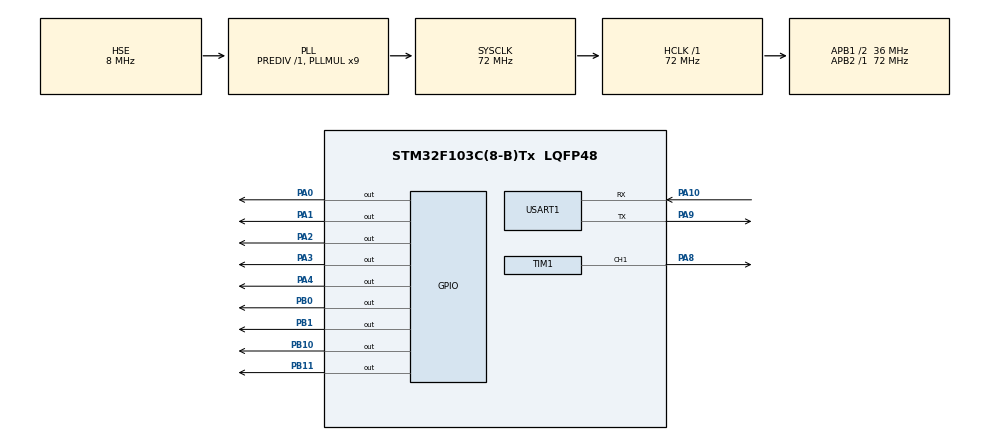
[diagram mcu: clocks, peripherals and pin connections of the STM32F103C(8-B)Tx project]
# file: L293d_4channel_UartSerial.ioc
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Mcu.Family=STM32F1
Mcu.Name=STM32F103C(8-B)Tx
Mcu.Package=LQFP48
NVIC.PriorityGroup=NVIC_PRIORITYGROUP_4
NVIC.USART1_IRQn=true\:0\:0\:false\:false\:true\:true\:true\:true
PA0-WKUP.Signal=GPIO_Output
PA1.Signal=GPIO_Output
PA10.Mode=Asynchronous
PA10.Signal=USART1_RX
PA13.Mode=Serial_Wire
PA13.Signal=SYS_JTMS-SWDIO
PA14.Mode=Serial_Wire
PA14.Signal=SYS_JTCK-SWCLK
PA2.Signal=GPIO_Output
PA3.Signal=GPIO_Output
PA4.Signal=GPIO_Output
PA8.Signal=S_TIM1_CH1
PA9.Mode=Asynchronous
PA9.Signal=USART1_TX
PB0.Signal=GPIO_Output
PB1.Signal=GPIO_Output
PB10.Signal=GPIO_Output
PB11.Signal=GPIO_Output
PD0-OSC_IN.Mode=HSE-External-Oscillator
PD0-OSC_IN.Signal=RCC_OSC_IN
PD1-OSC_OUT.Mode=HSE-External-Oscillator
PD1-OSC_OUT.Signal=RCC_OSC_OUT
ProjectManager.HeapSize=0x200
ProjectManager.StackSize=0x400
ProjectManager.TargetToolchain=STM32CubeIDE
RCC.AHBFreq_Value=72000000
RCC.APB1CLKDivider=RCC_HCLK_DIV2
RCC.APB1Freq_Value=36000000
RCC.APB1TimFreq_Value=72000000
RCC.APB2Freq_Value=72000000
RCC.APB2TimFreq_Value=72000000
RCC.HCLKFreq_Value=72000000
RCC.PLLMUL=RCC_PLL_MUL9
RCC.PLLSourceVirtual=RCC_PLLSOURCE_HSE
RCC.SYSCLKFreq_VALUE=72000000
RCC.SYSCLKSource=RCC_SYSCLKSOURCE_PLLCLK
RCC.USBFreq_Value=72000000
SH.S_TIM1_CH1.0=TIM1_CH1,PWM Generation1 CH1
TIM1.Channel-PWM\ Generation1\ CH1=TIM_CHANNEL_1
TIM1.Period=1000
TIM1.Prescaler=71
USART1.VirtualMode=VM_ASYNC
VP_TIM1_VS_ClockSourceINT.Mode=Internal
board=custom

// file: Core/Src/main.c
/* USER CODE BEGIN Header */
/**
  ******************************************************************************
  * @file           : main.c
  * @brief          : Main program body
  ******************************************************************************
  * @attention
  *
  * Copyright (c) 2026 STMicroelectronics.
  * All rights reserved.
  *
  * This software is licensed under terms that can be found in the LICENSE file
  * in the root directory of this software component.
  * If no LICENSE file comes with this software, it is provided AS-IS.
  *
  ******************************************************************************
  */
/* USER CODE END Header */
#include "main.h"

TIM_HandleTypeDef htim1;

UART_HandleTypeDef huart1;

void SystemClock_Config(void);
static void MX_GPIO_Init(void);
static void MX_TIM1_Init(void);
static void MX_USART1_UART_Init(void);

/* USER CODE BEGIN 0 */
#include <string.h>
#include <stdio.h>

uint8_t rx_data;
uint16_t speed = 500;
char selected_motor = 'A';

/* -------- UART DEBUG -------- */
void debug_print(char *msg)
{
    HAL_UART_Transmit(&huart1, (uint8_t*)msg, strlen(msg), 100);
}

/* -------- STOP ALL -------- */
void all_motors_stop(void)
{
    HAL_GPIO_WritePin(GPIOA, GPIO_PIN_0|GPIO_PIN_1|GPIO_PIN_2|GPIO_PIN_3, GPIO_PIN_RESET);
    HAL_GPIO_WritePin(GPIOB, GPIO_PIN_0|GPIO_PIN_1|GPIO_PIN_10|GPIO_PIN_11, GPIO_PIN_RESET);
}

/* -------- MOTOR CONTROL -------- */
void motorA_forward(void)
{
    all_motors_stop();
    HAL_GPIO_WritePin(GPIOA, GPIO_PIN_0, GPIO_PIN_SET);
    HAL_GPIO_WritePin(GPIOA, GPIO_PIN_1, GPIO_PIN_RESET);
}

void motorB_forward(void)
{
    all_motors_stop();
    HAL_GPIO_WritePin(GPIOA, GPIO_PIN_2, GPIO_PIN_SET);
    HAL_GPIO_WritePin(GPIOA, GPIO_PIN_3, GPIO_PIN_RESET);
}

void motorC_forward(void)
{
    all_motors_stop();
    HAL_GPIO_WritePin(GPIOB, GPIO_PIN_0, GPIO_PIN_SET);
    HAL_GPIO_WritePin(GPIOB, GPIO_PIN_1, GPIO_PIN_RESET);
}

void motorD_forward(void)
{
    all_motors_stop();
    HAL_GPIO_WritePin(GPIOB, GPIO_PIN_10, GPIO_PIN_SET);
    HAL_GPIO_WritePin(GPIOB, GPIO_PIN_11, GPIO_PIN_RESET);
}

/* -------- APPLY SPEED -------- */
void apply_speed(void)
{
    __HAL_TIM_SET_COMPARE(&htim1, TIM_CHANNEL_1, speed);
}
/* USER CODE END 0 */
void HAL_UART_RxCpltCallback(UART_HandleTypeDef *huart)
{
    if (huart->Instance == USART1)
    {
        char msg[50];

        /* ---- SELECT MOTOR ---- */
        if (rx_data=='A'||rx_data=='B'||rx_data=='C'||rx_data=='D')
        {
            selected_motor = rx_data;
            sprintf(msg, "Selected: %c\r\n", selected_motor);
            debug_print(msg);
        }

        /* ---- RUN MOTOR ---- */
        if (rx_data == 'F')
        {
            if (selected_motor=='A') motorA_forward();
            if (selected_motor=='B') motorB_forward();
            if (selected_motor=='C') motorC_forward();
            if (selected_motor=='D') motorD_forward();

            sprintf(msg, "Motor %c RUN\r\n", selected_motor);
            debug_print(msg);
        }

        /* ---- STOP ---- */
        if (rx_data == 'S')
        {
            all_motors_stop();
            debug_print("ALL STOP\r\n");
        }

        /* ---- SPEED ---- */
        if (rx_data >= '0' && rx_data <= '9')
        {
            speed = (rx_data - '0') * 100;
            apply_speed();

            sprintf(msg, "Speed: %d\r\n", speed);
            debug_print(msg);
        }

        HAL_UART_Receive_IT(&huart1, &rx_data, 1);
    }
}
int main(void)
{

  /* MCU Configuration--------------------------------------------------------*/

  /* Reset of all peripherals, Initializes the Flash interface and the Systick. */
  HAL_Init();

  /* Configure the system clock */
  SystemClock_Config();

  /* Initialize all configured peripherals */
  MX_GPIO_Init();
  MX_TIM1_Init();
  MX_USART1_UART_Init();
  /* USER CODE BEGIN 2 */
  HAL_TIM_PWM_Start(&htim1, TIM_CHANNEL_1);

  all_motors_stop();
  apply_speed();

  HAL_UART_Receive_IT(&huart1, &rx_data, 1);
  /* USER CODE END 2 */

  /* Infinite loop */
  while (1)
  {

  }
}

void SystemClock_Config(void)
{
  RCC_OscInitTypeDef RCC_OscInitStruct = {0};
  RCC_ClkInitTypeDef RCC_ClkInitStruct = {0};

  /** Initializes the RCC Oscillators according to the specified parameters
  * in the RCC_OscInitTypeDef structure.
  */
  RCC_OscInitStruct.OscillatorType = RCC_OSCILLATORTYPE_HSE;
  RCC_OscInitStruct.HSEState = RCC_HSE_ON;
  RCC_OscInitStruct.HSEPredivValue = RCC_HSE_PREDIV_DIV1;
  RCC_OscInitStruct.HSIState = RCC_HSI_ON;
  RCC_OscInitStruct.PLL.PLLState = RCC_PLL_ON;
  RCC_OscInitStruct.PLL.PLLSource = RCC_PLLSOURCE_HSE;
  RCC_OscInitStruct.PLL.PLLMUL = RCC_PLL_MUL9;
  if (HAL_RCC_OscConfig(&RCC_OscInitStruct) != HAL_OK)
  {
    Error_Handler();
  }

  /** Initializes the CPU, AHB and APB buses clocks
  */
  RCC_ClkInitStruct.ClockType = RCC_CLOCKTYPE_HCLK|RCC_CLOCKTYPE_SYSCLK
                              |RCC_CLOCKTYPE_PCLK1|RCC_CLOCKTYPE_PCLK2;
  RCC_ClkInitStruct.SYSCLKSource = RCC_SYSCLKSOURCE_PLLCLK;
  RCC_ClkInitStruct.AHBCLKDivider = RCC_SYSCLK_DIV1;
  RCC_ClkInitStruct.APB1CLKDivider = RCC_HCLK_DIV2;
  RCC_ClkInitStruct.APB2CLKDivider = RCC_HCLK_DIV1;

  if (HAL_RCC_ClockConfig(&RCC_ClkInitStruct, FLASH_LATENCY_2) != HAL_OK)
  {
    Error_Handler();
  }
}

static void MX_TIM1_Init(void)
{

  TIM_ClockConfigTypeDef sClockSourceConfig = {0};
  TIM_MasterConfigTypeDef sMasterConfig = {0};
  TIM_OC_InitTypeDef sConfigOC = {0};
  TIM_BreakDeadTimeConfigTypeDef sBreakDeadTimeConfig = {0};

  htim1.Instance = TIM1;
  htim1.Init.Prescaler = 71;
  htim1.Init.CounterMode = TIM_COUNTERMODE_UP;
  htim1.Init.Period = 1000;
  htim1.Init.ClockDivision = TIM_CLOCKDIVISION_DIV1;
  htim1.Init.RepetitionCounter = 0;
  htim1.Init.AutoReloadPreload = TIM_AUTORELOAD_PRELOAD_DISABLE;
  if (HAL_TIM_Base_Init(&htim1) != HAL_OK)
  {
    Error_Handler();
  }
  sClockSourceConfig.ClockSource = TIM_CLOCKSOURCE_INTERNAL;
  if (HAL_TIM_ConfigClockSource(&htim1, &sClockSourceConfig) != HAL_OK)
  {
    Error_Handler();
  }
  if (HAL_TIM_PWM_Init(&htim1) != HAL_OK)
  {
    Error_Handler();
  }
  sMasterConfig.MasterOutputTrigger = TIM_TRGO_RESET;
  sMasterConfig.MasterSlaveMode = TIM_MASTERSLAVEMODE_DISABLE;
  if (HAL_TIMEx_MasterConfigSynchronization(&htim1, &sMasterConfig) != HAL_OK)
  {
    Error_Handler();
  }
  sConfigOC.OCMode = TIM_OCMODE_PWM1;
  sConfigOC.Pulse = 0;
  sConfigOC.OCPolarity = TIM_OCPOLARITY_HIGH;
  sConfigOC.OCNPolarity = TIM_OCNPOLARITY_HIGH;
  sConfigOC.OCFastMode = TIM_OCFAST_DISABLE;
  sConfigOC.OCIdleState = TIM_OCIDLESTATE_RESET;
  sConfigOC.OCNIdleState = TIM_OCNIDLESTATE_RESET;
  if (HAL_TIM_PWM_ConfigChannel(&htim1, &sConfigOC, TIM_CHANNEL_1) != HAL_OK)
  {
    Error_Handler();
  }
  sBreakDeadTimeConfig.OffStateRunMode = TIM_OSSR_DISABLE;
  sBreakDeadTimeConfig.OffStateIDLEMode = TIM_OSSI_DISABLE;
  sBreakDeadTimeConfig.LockLevel = TIM_LOCKLEVEL_OFF;
  sBreakDeadTimeConfig.DeadTime = 0;
  sBreakDeadTimeConfig.BreakState = TIM_BREAK_DISABLE;
  sBreakDeadTimeConfig.BreakPolarity = TIM_BREAKPOLARITY_HIGH;
  sBreakDeadTimeConfig.AutomaticOutput = TIM_AUTOMATICOUTPUT_DISABLE;
  if (HAL_TIMEx_ConfigBreakDeadTime(&htim1, &sBreakDeadTimeConfig) != HAL_OK)
  {
    Error_Handler();
  }
  HAL_TIM_MspPostInit(&htim1);

}

static void MX_USART1_UART_Init(void)
{

  huart1.Instance = USART1;
  huart1.Init.BaudRate = 115200;
  huart1.Init.WordLength = UART_WORDLENGTH_8B;
  huart1.Init.StopBits = UART_STOPBITS_1;
  huart1.Init.Parity = UART_PARITY_NONE;
  huart1.Init.Mode = UART_MODE_TX_RX;
  huart1.Init.HwFlowCtl = UART_HWCONTROL_NONE;
  huart1.Init.OverSampling = UART_OVERSAMPLING_16;
  if (HAL_UART_Init(&huart1) != HAL_OK)
  {
    Error_Handler();
  }

}

static void MX_GPIO_Init(void)
{
  GPIO_InitTypeDef GPIO_InitStruct = {0};

  /* GPIO Ports Clock Enable */
  __HAL_RCC_GPIOD_CLK_ENABLE();
  __HAL_RCC_GPIOA_CLK_ENABLE();
  __HAL_RCC_GPIOB_CLK_ENABLE();

  /*Configure GPIO pin Output Level */
  HAL_GPIO_WritePin(GPIOA, GPIO_PIN_0|GPIO_PIN_1|GPIO_PIN_2|GPIO_PIN_3
                          |GPIO_PIN_4, GPIO_PIN_RESET);

  /*Configure GPIO pin Output Level */
  HAL_GPIO_WritePin(GPIOB, GPIO_PIN_0|GPIO_PIN_1|GPIO_PIN_10|GPIO_PIN_11, GPIO_PIN_RESET);

  /*Configure GPIO pins : PA0 PA1 PA2 PA3
                           PA4 */
  GPIO_InitStruct.Pin = GPIO_PIN_0|GPIO_PIN_1|GPIO_PIN_2|GPIO_PIN_3
                          |GPIO_PIN_4;
  GPIO_InitStruct.Mode = GPIO_MODE_OUTPUT_PP;
  GPIO_InitStruct.Pull = GPIO_NOPULL;
  GPIO_InitStruct.Speed = GPIO_SPEED_FREQ_LOW;
  HAL_GPIO_Init(GPIOA, &GPIO_InitStruct);

  /*Configure GPIO pins : PB0 PB1 PB10 PB11 */
  GPIO_InitStruct.Pin = GPIO_PIN_0|GPIO_PIN_1|GPIO_PIN_10|GPIO_PIN_11;
  GPIO_InitStruct.Mode = GPIO_MODE_OUTPUT_PP;
  GPIO_InitStruct.Pull = GPIO_NOPULL;
  GPIO_InitStruct.Speed = GPIO_SPEED_FREQ_LOW;
  HAL_GPIO_Init(GPIOB, &GPIO_InitStruct);

}

void Error_Handler(void)
{
  __disable_irq();
  while (1)
  {
  }
}
